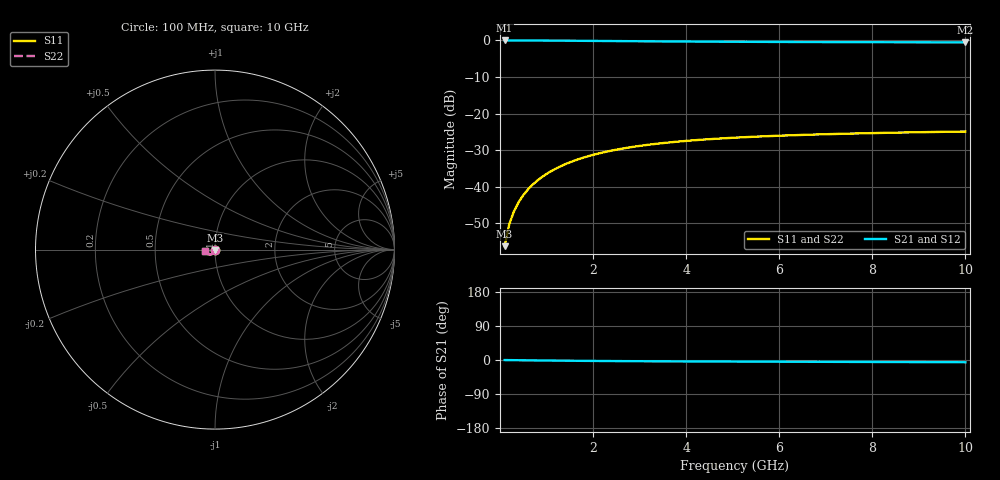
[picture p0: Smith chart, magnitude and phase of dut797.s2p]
! Touchstone file exported from HFSS 2024.1.0
!  File:  C:/UserFiles/LocalFiles/RDL_TSV_Batchsim/temp_TSV1_797_1779876116.aedt
!  Generated:  06:07:26 PM May 27, 2026
!  Design:  TSV1
!  Project:  temp_TSV1_797_1779876116
!  Setup:  Setup1
!  Solution:  Sweep
! Variables:
!  dtsv = 10.74um
!  hbump = 3um
!  htsv = 93.68um
!  lrdl = 252.1521522um
!  p = 40
!  p1 = 47.62um
!  t = 500um
!  trdl = 3um
!  wrdl = 24.89489489um
# GHz S MA R 50.000000
! Terminal data exported
! Port[1] = TSV22_T1
! Port[2] = TSV22_T2
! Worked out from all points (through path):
!   100 points, 100 MHz to 10 GHz, reference 50 ohm
!   highest |S21| = 0.00 dB at 100 MHz (marker M1); lowest = -0.5 dB at 10 GHz (marker M2)
!   lowest |S11| = -56.2 dB at 100 MHz (marker M3), VSWR 1.00, Z = 50 - j0.155 ohm
!   |S11| at or under -10 dB: start of sweep to end of sweep
!   |S22| runs from -56.2 to -24.9 dB; largest |S21 - S12| = 3.1e-15
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0.1  0.001549 -86.5  0.9998 -0.1  0.9998 -0.1  0.001549 -86.5
! Gamma 0 0 0 0
! Port Impedance 50 0 50 0
0.2  0.003088 -90.6  0.9997 -0.3  0.9997 -0.3  0.003088 -90.6
0.3  0.004628 -93.1  0.9994 -0.4  0.9994 -0.4  0.004628 -93.1
0.4  0.006163 -95.2  0.9991 -0.6  0.9991 -0.6  0.006163 -95.2
0.5  0.007687 -97.1  0.9987 -0.7  0.9987 -0.7  0.007687 -97.1
0.6  0.009197 -98.9  0.9982 -0.9  0.9982 -0.9  0.009197 -98.9
0.7  0.01069 -100.7  0.9976 -1.0  0.9976 -1.0  0.01069 -100.7
0.8  0.01216 -102.5  0.997 -1.1  0.997 -1.1  0.01216 -102.5
0.9  0.0136 -104.2  0.9963 -1.3  0.9963 -1.3  0.0136 -104.2
1.1  0.0164 -107.5  0.9947 -1.5  0.9947 -1.5  0.0164 -107.5
1.4  0.02037 -112.2  0.992 -1.8  0.992 -1.8  0.02037 -112.2
1.6  0.02284 -115.2  0.99 -2.1  0.99 -2.1  0.02284 -115.2
1.8  0.02517 -118.0  0.9879 -2.3  0.9879 -2.3  0.02517 -118.0
2.1  0.02839 -122.1  0.9847 -2.5  0.9847 -2.5  0.02839 -122.1
2.5  0.03221 -127.1  0.9805 -2.9  0.9805 -2.9  0.0322 -127.1
2.9  0.03551 -131.7  0.9764 -3.1  0.9764 -3.1  0.03551 -131.7
3.4  0.03901 -136.8  0.9716 -3.4  0.9716 -3.4  0.03901 -136.8
4.2  0.04344 -143.8  0.965 -3.8  0.965 -3.8  0.04344 -143.8
5.1  0.04717 -150.4  0.959 -4.2  0.959 -4.2  0.04717 -150.4
6.7  0.05172 -159.7  0.9512 -4.8  0.9512 -4.8  0.05172 -159.7
8.4  0.05489 -167.4  0.9457 -5.3  0.9457 -5.3  0.05489 -167.4
10  0.05703 -173.4  0.9421 -5.9  0.9421 -5.9  0.05703 -173.4
